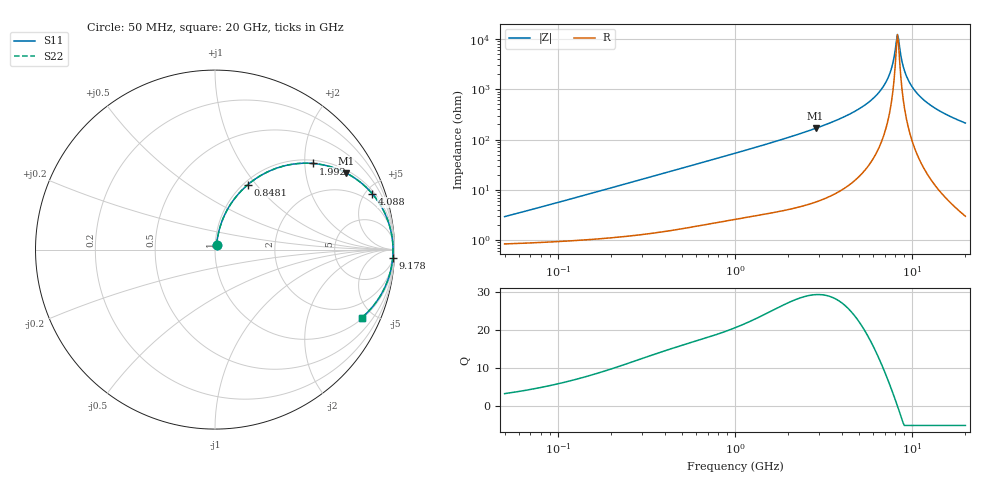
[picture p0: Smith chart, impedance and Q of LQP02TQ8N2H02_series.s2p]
!Murata Part Number: LQP02TQ8N2H02
!These Parameters are Measured in Series Mode Connection
!  o--[Z]--o
!Port1  Port2
!  o-------o
!Freq. Start=50[MHz] Stop=20[GHz], 401[Steps]
# Hz S RI R 50
!Freq.(Hz) S11(Real) S11(Imag) S21(Real) S21(Imag) S12(Real) S12(Imag) S22(Real) S22(Imag)
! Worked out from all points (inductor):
!   401 points, 50 MHz to 20 GHz, reference 50 ohm
!   read as one part in series: L = 8.9 nH near 51.52 MHz
!   highest Q = 29.3 at 2.853 GHz (marker M1), where L = 9.34 nH
!   self-resonance near 8.265 GHz
!   S11 on the Smith chart (normalised r, x): 50 MHz: 1.02, +0.06; 848.1 MHz: 1.05, +0.91; 1.992 GHz: 1.08, +2.19; 4.088 GHz: 1.21, +5.58; 9.178 GHz: 7, -41; 20 GHz: 1.06, -4.27
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5e7  0.0091 0.0276  0.9909 -0.0276  0.9909 -0.0276  0.0091 0.0276
1.364002e8  0.0153 0.0732  0.9847 -0.0732  0.9847 -0.0732  0.0153 0.0732
3.721004e8  0.0513 0.188  0.9487 -0.188  0.9487 -0.188  0.0513 0.188
8.480927e8  0.1829 0.3616  0.8171 -0.3616  0.8171 -0.3616  0.1829 0.3616
1e9  0.233 0.3992  0.767 -0.3992  0.767 -0.3992  0.233 0.3992
1.99176e9  0.545 0.4799  0.455 -0.4799  0.455 -0.4799  0.545 0.4799
2.728004e9  0.7086 0.4376  0.2914 -0.4376  0.2914 -0.4376  0.7086 0.4376
2.853386e9  0.7304 0.427  0.2696 -0.427  0.2696 -0.427  0.7304 0.427
4.087748e9  0.8772 0.3101  0.1228 -0.3101  0.1228 -0.3101  0.8772 0.3101
6.034176e9  0.9689 0.1447  0.0311 -0.1447  0.0311 -0.1447  0.9689 0.1447
6.802353e9  0.9829 0.0904  0.0171 -0.0904  0.0171 -0.0904  0.9829 0.0904
7.442007e9  0.9892 0.0493  0.0108 -0.0493  0.0108 -0.0493  0.9892 0.0493
7.784049e9  0.991 0.0286  0.00901 -0.0286  0.00901 -0.0286  0.991 0.0286
8.141811e9  0.9919 0.00796  0.00808 -0.00796  0.00808 -0.00796  0.9919 0.00796
8.264682e9  0.992 0.00106  0.00796 -0.00106  0.00796 -0.00106  0.992 0.00106
8.516016e9  0.992 -0.0127  0.00803 0.0127  0.00803 0.0127  0.992 -0.0127
8.907419e9  0.9911 -0.0335  0.00885 0.0335  0.00885 0.0335  0.9911 -0.0335
9.178299e9  0.9901 -0.0473  0.00989 0.0473  0.00989 0.0473  0.9901 -0.0473
1.019291e10  0.9834 -0.0955  0.0166 0.0955  0.0166 0.0955  0.9834 -0.0955
1.183995e10  0.9652 -0.1637  0.0348 0.1637  0.0348 0.1637  0.9652 -0.1637
1.482269e10  0.918 -0.2628  0.082 0.2628  0.082 0.2628  0.918 -0.2628
2e10  0.8166 -0.38  0.1834 0.38  0.1834 0.38  0.8166 -0.38
